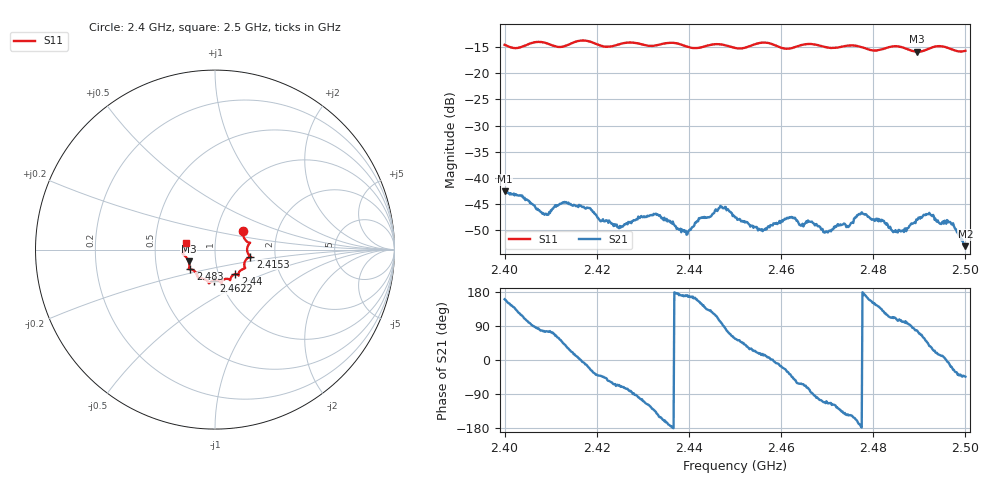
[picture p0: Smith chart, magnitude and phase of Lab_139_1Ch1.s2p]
# Hz S RI R 50
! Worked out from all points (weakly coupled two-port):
!   601 points, 2.4 GHz to 2.5 GHz, reference 50 ohm
!   highest |S21| = -42.60 dB at 2.4 GHz (marker M1); lowest = -53.1 dB at 2.5 GHz (marker M2)
!   lowest |S11| = -15.9 dB at 2.4895 GHz (marker M3), VSWR 1.38, Z = 36.9 - j5.01 ohm
!   |S11| at or under -10 dB: start of sweep to end of sweep
!   S12 and S22 are empty: the file has one direction only
!   S11 on the Smith chart (normalised r, x): 2.4 GHz: 1.33, +0.29; 2.4153 GHz: 1.48, -0.12; 2.44 GHz: 1.20, -0.34; 2.4622 GHz: 0.93, -0.33; 2.483 GHz: 0.74, -0.17; 2.5 GHz: 0.72, +0.06
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2.4e9  0.1546 0.1063  -0.00697 0.0025  0 0  0 0
2.409e9  0.1917 0.0343  0.0011 0.00439  0 0  0 0
2.412833e9  0.1806 -0.0129  0.00424 0.00395  0 0  0 0
2.415333e9  0.1964 -0.0389  0.00529 0.00114  0 0  0 0
2.416667e9  0.2015 -0.0427  0.00535 -0.000163  0 0  0 0
2.425e9  0.1649 -0.0956  0.0013 -0.00321  0 0  0 0
2.433333e9  0.1309 -0.1337  -0.00365 -0.00251  0 0  0 0
2.44e9  0.1138 -0.1367  -0.00307 0.000584  0 0  0 0
2.446833e9  0.0846 -0.1695  -0.00103 0.00529  0 0  0 0
2.45e9  0.0646 -0.1627  0.00232 0.00348  0 0  0 0
2.456e9  0.0381 -0.1931  0.00297 0.000843  0 0  0 0
2.462167e9  -0.00736 -0.1736  0.00317 -0.00278  0 0  0 0
2.466667e9  -0.034 -0.1875  0.000222 -0.00382  0 0  0 0
2.469833e9  -0.0463 -0.1712  -0.000995 -0.00291  0 0  0 0
2.4775e9  -0.0974 -0.1491  -0.00468 -0.000166  0 0  0 0
2.483e9  -0.1375 -0.1095  -0.00179 0.00319  0 0  0 0
2.483333e9  -0.14 -0.1094  -0.0014 0.00302  0 0  0 0
2.486167e9  -0.1452 -0.1031  -0.00062 0.00303  0 0  0 0
2.4895e9  -0.1464 -0.0661  0.000822 0.00387  0 0  0 0
2.492e9  -0.1681 -0.0349  0.0034 0.00293  0 0  0 0
2.4965e9  -0.173 -0.0115  0.00371 -0.000681  0 0  0 0
2.5e9  -0.1597 0.0392  0.0016 -0.00154  0 0  0 0
